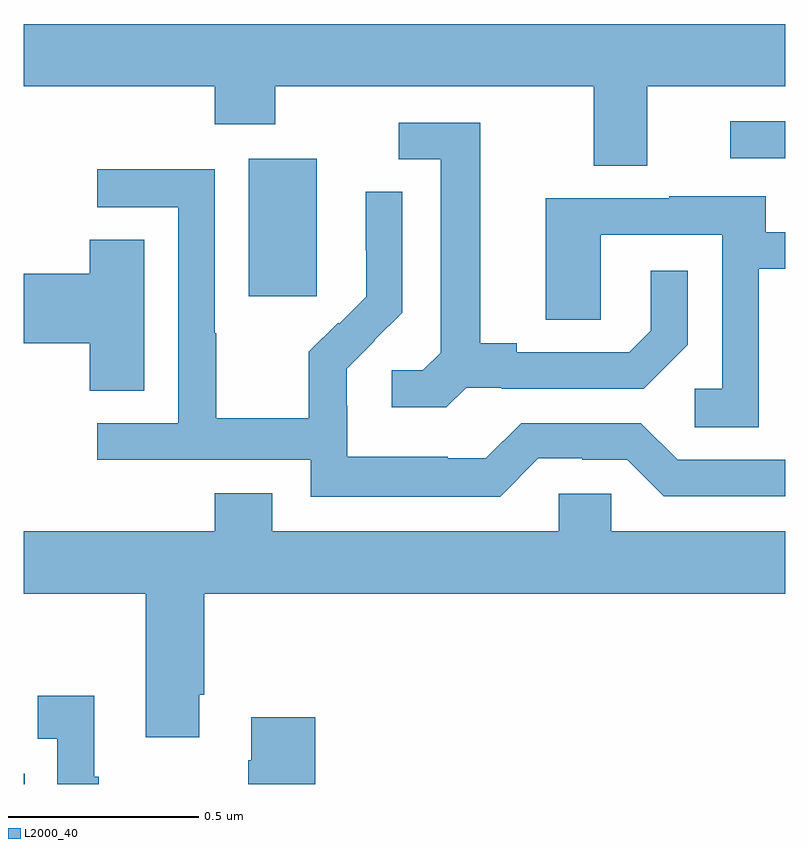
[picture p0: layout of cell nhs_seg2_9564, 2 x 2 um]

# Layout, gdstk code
import gdstk
lib = gdstk.Library(unit=1e-6, precision=1e-09)
def R(c, l, rs):  # rectangles x0, y0, x1, y1
    for r in rs: c.add(gdstk.rectangle(r[:2], r[2:], *l))
def P(c, l, *ps):  # polygons
    for p in ps: c.add(gdstk.Polygon(p, *l))
L2000_40 = (2000, 40)

nhs_seg2_9564 = lib.new_cell('nhs_seg2_9564')
R(nhs_seg2_9564, L2000_40, [(230,649.8,230.003,649.827), (230.591,651.081,230.77,651.442), (231.855,651.444,232,651.54)])
P(nhs_seg2_9564, L2000_40, [(231.637,651.632),(232,651.632),(232,651.796),(230,651.796),(230,651.632),(230.501,651.632),(230.501,651.533),(230.661,651.533),(230.661,651.632),(231.497,651.632),(231.497,651.424),(231.637,651.424)],
  [(231.162,650.841),(231.256,650.841),(231.256,650.838),(231.628,650.838),(231.744,650.954),(231.744,651.148),(231.647,651.148),(231.647,650.991),(231.59,650.934),(231.295,650.934),(231.295,650.957),(231.199,650.957),(231.199,651.537),(230.985,651.537),(230.985,651.441),(231.095,651.441),(231.095,650.933),(231.048,650.886),(230.967,650.886),(230.967,650.789),(231.11,650.789)],
  [(231.351,650.655),(231.467,650.655),(231.467,650.652),(231.585,650.652),(231.681,650.556),(232,650.556),(232,650.652),(231.717,650.652),(231.621,650.748),(231.306,650.748),(231.213,650.655),(231.113,650.655),(231.113,650.659),(230.85,650.659),(230.85,650.793),(230.848,650.793),(230.848,650.89),(230.922,650.964),(230.921,650.965),(230.994,651.038),(230.994,651.356),(230.898,651.356),(230.898,651.202),(230.9,651.202),(230.9,651.08),(230.829,651.009),(230.826,651.012),(230.749,650.935),(230.749,650.761),(230.505,650.761),(230.505,650.984),(230.502,650.984),(230.502,651.414),(230.193,651.414),(230.193,651.315),(230.406,651.315),(230.406,650.748),(230.193,650.748),(230.193,650.652),(230.754,650.652),(230.754,650.555),(231.251,650.555)],
  [(231.93,651.153),(232,651.153),(232,651.249),(231.949,651.249),(231.949,651.343),(231.695,651.343),(231.695,651.339),(231.371,651.339),(231.371,651.019),(231.516,651.019),(231.516,651.243),(231.834,651.243),(231.834,650.838),(231.762,650.838),(231.762,650.737),(231.93,650.737)],
  [(230.317,651.23),(230.174,651.23),(230.174,651.14),(230,651.14),(230,650.957),(230.174,650.957),(230.174,650.833),(230.317,650.833)],
  [(230.461,650.035),(230.474,650.035),(230.474,650.3),(232,650.3),(232,650.464),(231.543,650.464),(231.543,650.562),(231.405,650.562),(231.405,650.464),(230.653,650.464),(230.653,650.563),(230.501,650.563),(230.501,650.464),(230,650.464),(230,650.3),(230.321,650.3),(230.321,649.923),(230.461,649.923)],
  [(230.197,649.819),(230.185,649.819),(230.185,650.032),(230.037,650.032),(230.037,649.919),(230.088,649.919),(230.088,649.8),(230.197,649.8)],
  [(230.765,649.975),(230.597,649.975),(230.597,649.862),(230.59,649.862),(230.59,649.8),(230.765,649.8)])

lib.write_gds('nhs_seg2_9564.gds')
